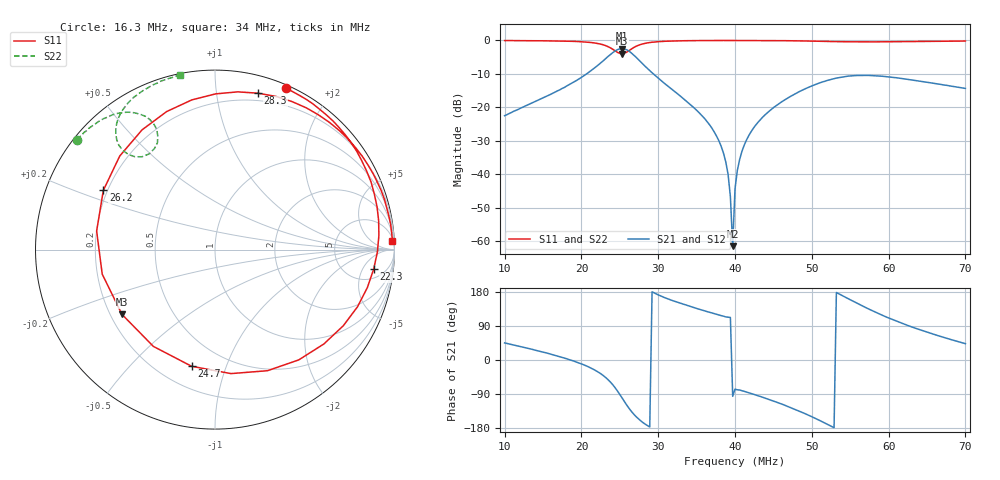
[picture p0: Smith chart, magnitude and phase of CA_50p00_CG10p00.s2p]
#  HZ  S  RI  R  50.00
! Rohde & Schwarz ZVT8 8Ports - Version 4.11 - 1300.0000k08 SN: 100242
! Date: 2026-07-31 15:18:02
! Measurements: S11 S21 S12 S22
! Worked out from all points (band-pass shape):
!   201 points, 10 MHz to 70 MHz, reference 50 ohm
!   highest |S21| = -2.44 dB at 25.3 MHz (marker M1); lowest = -61.5 dB at 39.7 MHz (marker M2)
!   |S21| within 3 dB of the highest: 23.15 MHz to 27.3 MHz (4.145 MHz wide, 16.4 % of centre)
!   lowest |S11| = -4.0 dB at 25.3 MHz (marker M3), VSWR 4.43, Z = 12.3 - j14.8 ohm
!   |S11| at or under -10 dB: nowhere
!   |S22| runs from -3.8 to 0.0 dB; largest |S21 - S12| = 0.0023
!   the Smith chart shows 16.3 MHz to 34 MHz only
!   S11 on the Smith chart (normalised r, x): 16.3 MHz: 0.03, +1.53; 22.3 MHz: 8, -9; 24.7 MHz: 0.33, -0.77; 26.2 MHz: 0.18, +0.24; 28.3 MHz: 0.14, +1.30; 34 MHz: 8, +38
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1e7  -0.3974 0.913  0.053 0.0532  0.0527 0.0533  -0.9196 0.3827
1.63e7  0.3935 0.9004  0.1587 0.0386  0.1581 0.0388  -0.7708 0.612
2.02e7  0.8445 0.4384  0.2843 -0.0594  0.2835 -0.0591  -0.6064 0.735
2.23e7  0.884 -0.1096  0.3676 -0.2411  0.3678 -0.24  -0.4635 0.7647
2.35e7  0.6065 -0.5259  0.352 -0.4607  0.3526 -0.4593  -0.3636 0.7252
2.47e7  -0.13 -0.6502  0.1023 -0.7218  0.1034 -0.7202  -0.3203 0.5961
2.53e7  -0.5182 -0.3611  -0.1336 -0.7433  -0.1338 -0.7426  -0.3671 0.533
2.62e7  -0.6221 0.3301  -0.421 -0.5494  -0.4202 -0.5494  -0.4823 0.5298
2.71e7  -0.2694 0.769  -0.4837 -0.2894  -0.4843 -0.2891  -0.5478 0.6135
2.83e7  0.24 0.8714  -0.4032 -0.0768  -0.4045 -0.0773  -0.5392 0.7308
3.01e7  0.6929 0.663  -0.2636 0.0419  -0.2633 0.0413  -0.451 0.8496
3.4e7  0.9886 0.0505  -0.0912 0.0702  -0.0913 0.0702  -0.1969 0.9702
3.85e7  0.8441 -0.5312  -0.00901 0.0187  -0.00887 0.0186  0.15 0.9866
3.94e7  0.7792 -0.6212  -0.00175 0.00428  -0.00189 0.00423  0.2286 0.9703
3.97e7  0.7567 -0.6506  -8.62e-05 -0.000841  -4.95e-05 -0.00078  0.2541 0.9629
4e7  0.7313 -0.6781  0.00136 -0.00591  0.00135 -0.00589  0.2824 0.9564
4.09e7  0.6527 -0.7544  0.0034 -0.0217  0.00336 -0.0216  0.3623 0.9278
4.27e7  0.4758 -0.8747  -0.00227 -0.0544  -0.00226 -0.0542  0.5333 0.8398
5.02e7  -0.3464 -0.9118  -0.1878 -0.1018  -0.188 -0.1024  0.9499 -0.203
5.5e7  -0.7338 -0.6084  -0.2745 0.1048  -0.2743 0.1044  0.1442 -0.9383
6.01e7  -0.9426 -0.149  -0.098 0.2667  -0.098 0.2664  -0.8144 -0.4953
7e7  -0.5791 0.7882  0.1401 0.1309  0.1401 0.1307  -0.7449 0.633
